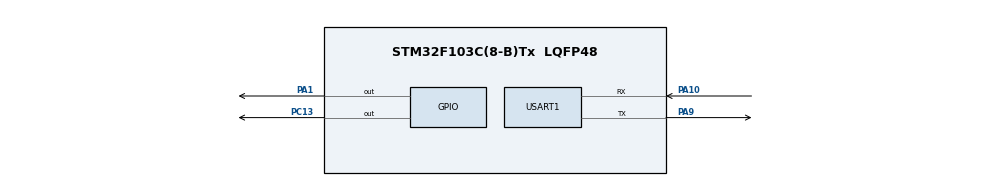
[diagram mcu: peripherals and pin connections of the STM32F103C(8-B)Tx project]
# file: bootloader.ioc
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Mcu.Family=STM32F1
Mcu.Name=STM32F103C(8-B)Tx
Mcu.Package=LQFP48
NVIC.PriorityGroup=NVIC_PRIORITYGROUP_4
NVIC.USART1_IRQn=true\:1\:0\:true\:false\:true\:true\:true\:true
PA1.Signal=GPIO_Output
PA10.Mode=Asynchronous
PA10.Signal=USART1_RX
PA13.Mode=Serial_Wire
PA13.Signal=SYS_JTMS-SWDIO
PA14.Mode=Serial_Wire
PA14.Signal=SYS_JTCK-SWCLK
PA9.Mode=Asynchronous
PA9.Signal=USART1_TX
PC13-TAMPER-RTC.Signal=GPIO_Output
ProjectManager.HeapSize=0x200
ProjectManager.StackSize=0x400
ProjectManager.TargetToolchain=STM32CubeIDE
RCC.APB1Freq_Value=8000000
RCC.APB2Freq_Value=8000000
USART1.VirtualMode=VM_ASYNC
board=custom

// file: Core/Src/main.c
/* USER CODE BEGIN Header */
/**
  ******************************************************************************
  * @file           : main.c
  * @brief          : Main program body
  ******************************************************************************
  * @attention
  *
  * Copyright (c) 2026 STMicroelectronics.
  * All rights reserved.
  *
  * This software is licensed under terms that can be found in the LICENSE file
  * in the root directory of this software component.
  * If no LICENSE file comes with this software, it is provided AS-IS.
  *
  ******************************************************************************
  */
/* USER CODE END Header */
#include "main.h"
#include "usart.h"
#include "gpio.h"

/* USER CODE BEGIN Includes */
#include "bl_jump.h"
#include "app_ota.h"

/* USER CODE END Includes */

void SystemClock_Config(void);

int main(void)
{

  /* MCU Configuration--------------------------------------------------------*/

  /* Reset of all peripherals, Initializes the Flash interface and the Systick. */
  HAL_Init();

  /* Configure the system clock */
  SystemClock_Config();

  /* Initialize all configured peripherals */
  MX_GPIO_Init();
  MX_USART1_UART_Init();
  read_byte();  /* Start the first UART interrupt receive for the RX ring buffer. */
  /* USER CODE BEGIN 2 */
  __HAL_RCC_PWR_CLK_ENABLE(); __HAL_RCC_BKP_CLK_ENABLE(); HAL_PWR_EnableBkUpAccess();
  int stay = (BKP->DR1 == BL_FLAG);
  if (stay) BKP->DR1 = 0;
  HAL_Delay(100);

  /* USER CODE END 2 */

  /* Infinite loop */
  /* USER CODE BEGIN WHILE */
  uint32_t t0 = HAL_GetTick(), tb = t0, tm = t0; int checked = 0;
  while (1)
  {
    /* USER CODE END WHILE */

    /* USER CODE BEGIN 3 */
      uint8_t b;
       if (rx_byte_timeout(&b, 5) && b == SYNC) { send_byte(ACK); loader(); }
       if (!stay && !checked && HAL_GetTick() - t0 > BOOT_WAIT_MS) {
           checked = 1;
           if (bootloader_is_app_valid() == 0) {   /* 0 = hop le (xem app_image.c) */
               if (app_ota_flag() == OTA_CONFIRMED) {
                   BKP->DR2 = 0;                     /* app da tung chay on, reset bo dem */
                   JumptoApplication();
               } else {
                   uint32_t attempts = BKP->DR2;
                   if (attempts < MAX_BOOT_ATTEMPTS) {
                       BKP->DR2 = attempts + 1;       /* cho app 1 co hoi nua */
                       JumptoApplication();
                   }
                   /* qua MAX_BOOT_ATTEMPTS ma van chua tu confirm -> coi la app
                    * loi (treo/crash ngay sau khi nhay), o lai bootloader de nap lai */
               }
           }
       }
       if ((checked || stay) && HAL_GetTick() - tb > 80) { tb = HAL_GetTick(); HAL_GPIO_TogglePin(GPIOC, GPIO_PIN_13); } /* nhay rat nhanh = khong co app hop le */
       if (HAL_GetTick() - tm > 250) { tm = HAL_GetTick(); HAL_GPIO_TogglePin(GPIOA, GPIO_PIN_1); }   /* LED_MODE: con dang o bootloader */
  }
  /* USER CODE END 3 */
}

void SystemClock_Config(void)
{
  RCC_OscInitTypeDef RCC_OscInitStruct = {0};
  RCC_ClkInitTypeDef RCC_ClkInitStruct = {0};

  /** Initializes the RCC Oscillators according to the specified parameters
  * in the RCC_OscInitTypeDef structure.
  */
  RCC_OscInitStruct.OscillatorType = RCC_OSCILLATORTYPE_HSI;
  RCC_OscInitStruct.HSIState = RCC_HSI_ON;
  RCC_OscInitStruct.HSICalibrationValue = RCC_HSICALIBRATION_DEFAULT;
  RCC_OscInitStruct.PLL.PLLState = RCC_PLL_NONE;
  if (HAL_RCC_OscConfig(&RCC_OscInitStruct) != HAL_OK)
  {
    Error_Handler();
  }

  /** Initializes the CPU, AHB and APB buses clocks
  */
  RCC_ClkInitStruct.ClockType = RCC_CLOCKTYPE_HCLK|RCC_CLOCKTYPE_SYSCLK
                              |RCC_CLOCKTYPE_PCLK1|RCC_CLOCKTYPE_PCLK2;
  RCC_ClkInitStruct.SYSCLKSource = RCC_SYSCLKSOURCE_HSI;
  RCC_ClkInitStruct.AHBCLKDivider = RCC_SYSCLK_DIV1;
  RCC_ClkInitStruct.APB1CLKDivider = RCC_HCLK_DIV1;
  RCC_ClkInitStruct.APB2CLKDivider = RCC_HCLK_DIV1;

  if (HAL_RCC_ClockConfig(&RCC_ClkInitStruct, FLASH_LATENCY_0) != HAL_OK)
  {
    Error_Handler();
  }
}

void Error_Handler(void)
{
  __disable_irq();
  while (1)
  {
  }
}
